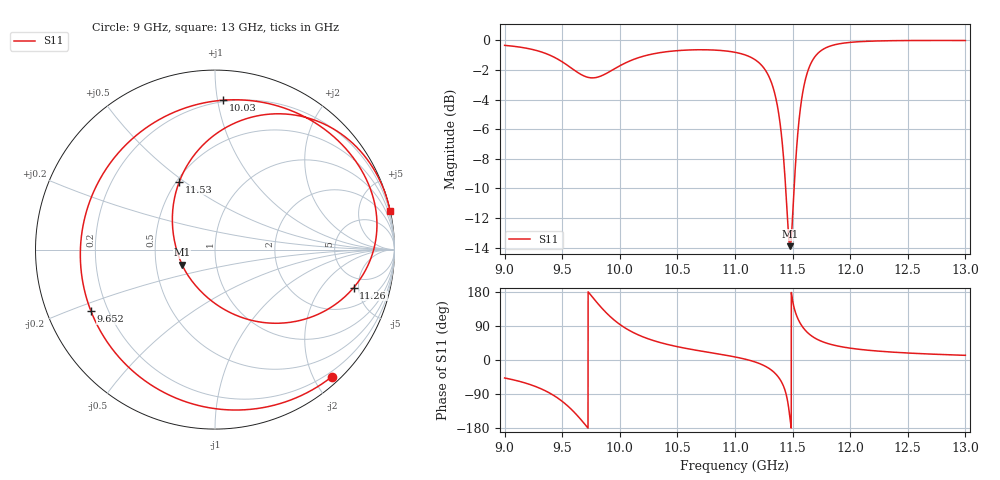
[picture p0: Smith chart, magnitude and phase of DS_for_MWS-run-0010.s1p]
! TOUCHSTONE file generated by CST DESIGN STUDIO
! Date and time: Tue Feb  4 13:35:37 2025
! Project name: C:\Work\MatlabApps\UnitCellOptimizationMatlab\CST\unitcell.cst
! Tree item: Tasks\Sweep1\SPara1\S-Parameters
! Header version: 2024
! Port assignment regex: !\s*Touchstone port\s*([0-9]+)\s*=\s*(CST MWS port|CST DES external port|CST DES block port)\s*(.+)\s* \(\"(.*)\"\)(\s*mode\s*([0-9]+))?.*
! Touchstone port assignment:
! Touchstone port 1 = CST DES external port 1 ("")
# GHz S MA R 50
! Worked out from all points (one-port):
!   4001 points, 9 GHz to 13 GHz, reference 50 ohm
!   lowest |S11| = -13.9 dB at 11.48 GHz (marker M1), VSWR 1.51, Z = 34.1 - j5.97 ohm
!   |S11| at or under -10 dB: 11.44 GHz to 11.51 GHz (72.85 MHz wide, 0.635 % of centre)
!   S11 on the Smith chart (normalised r, x): 9 GHz: 0.12, -2.27; 9.652 GHz: 0.14, -0.23; 10.03 GHz: 0.19, +1.04; 11.26 GHz: 3.71, -4.39; 11.53 GHz: 0.52, +0.48; 13 GHz: 0.05, +9.25
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9  0.9619 -47.4
9.267  0.9264 -69.8
9.4  0.8887 -88.8
9.5  0.8464 -109.1
9.576  0.8079 -129.2
9.652  0.7715 -153.6
9.721  0.7505 -178.6
9.789  0.7485 156.1
9.892  0.7765 121.7
10  0.8205 93.9
10.034  0.8336 86.9
10.24  0.8915 56.6
10.5  0.9232 35.1
11  0.9113 8.1
11.152  0.8708 -3.0
11.256  0.8012 -15.3
11.332  0.6901 -30.6
11.398  0.4994 -54.8
11.439  0.3211 -84.8
11.478  0.2018 -155.4
11.5  0.2543 156.8
11.534  0.4282 117.6
11.587  0.6638 87.2
11.648  0.8181 67.4
11.785  0.9423 45.5
12  0.9846 31.2
12.5  0.9987 18.4
13  0.9989 12.3
